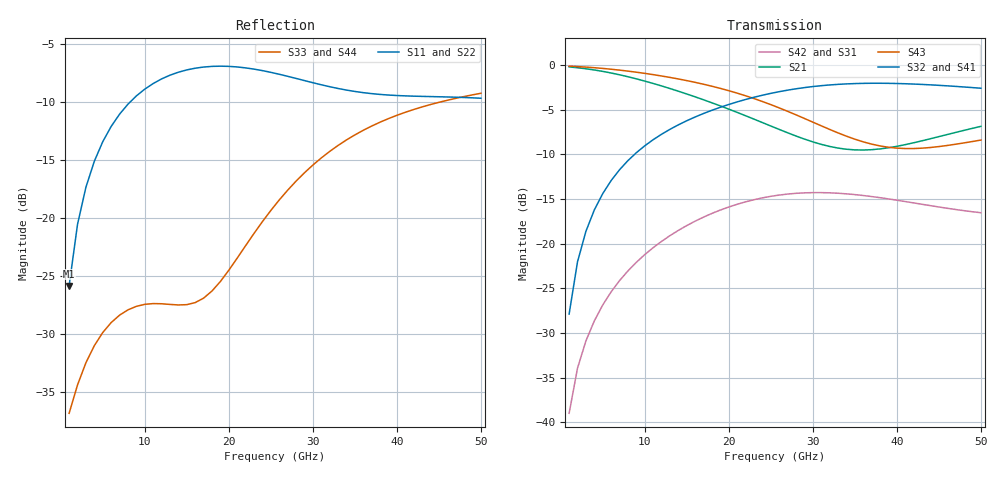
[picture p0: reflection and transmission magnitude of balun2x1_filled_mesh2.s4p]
! Created with skrf 2.1.0 (http://scikit-rf.org).
# GHz S DB R 50.0
! Port[1] = P1
! Port[2] = P2
! Port[3] = P3
! Port[4] = P4
!freq dBS11 angS11 dBS12 angS12 dBS13 angS13
! dBS14 angS14
! dBS21 angS21 dBS22 angS22 dBS23 angS23
! dBS24 angS24
! dBS31 angS31 dBS32 angS32 dBS33 angS33
! dBS34 angS34
! dBS41 angS41 dBS42 angS42 dBS43 angS43
! dBS44 angS44
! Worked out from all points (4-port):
!   50 points, 1 GHz to 50 GHz, reference 50 ohm
!   strongest paths, dB at 1 GHz, 13 GHz, 26 GHz, 38 GHz, 50 GHz:
!     S32: -27.9, -7.2, -3.0, -2.0, -2.6
!     S41: -27.9, -7.2, -3.0, -2.1, -2.6
!     S43: -0.1, -1.4, -4.8, -9.1, -8.4
!     S21: -0.2, -2.6, -7.2, -9.4, -6.9
!     S42: -39.0, -19.1, -14.6, -14.8, -16.5
!     S31: -39.0, -19.2, -14.7, -15.1, -16.7
!   lowest |S11| = -25.8 dB at 1 GHz (marker M1), VSWR 1.11, Z = 52.2 + j4.73 ohm
!   |S11| at or under -10 dB: start of sweep to 8.217 GHz
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1  -25.84 62.3  -0.21 -5.3  -38.99 -109.1  -27.87 84.6
   -0.21 -5.3  -25.84 62.3  -27.87 84.6  -38.98 -109.1
   -38.99 -109.1  -27.87 84.6  -36.84 24.3  -0.12 -2.6
   -27.87 84.6  -38.98 -109.1  -0.12 -2.6  -36.84 24.3
4  -15.08 60.7  -0.55 -19.9  -28.65 -135.5  -16.21 73.4
   -0.55 -19.9  -15.08 60.5  -16.22 73.4  -28.64 -135.8
   -28.65 -135.5  -16.22 73.4  -31.00 30.3  -0.30 -9.9
   -16.21 73.4  -28.64 -135.8  -0.30 -9.9  -31.00 30.1
9  -9.44 39.6  -1.54 -42.7  -22.12 -177.0  -9.81 56.0
   -1.54 -42.7  -9.45 39.2  -9.81 56.0  -22.08 -177.6
   -22.12 -177.0  -9.81 56.0  -27.61 2.5  -0.80 -21.1
   -9.81 56.0  -22.08 -177.6  -0.80 -21.1  -27.59 2.0
17  -6.95 9.0  -3.89 -78.0  -17.12 124.6  -5.43 31.7
    -3.89 -78.0  -6.98 8.1  -5.42 31.7  -17.02 123.6
    -17.12 124.6  -5.42 31.7  -26.90 -85.7  -2.15 -37.2
    -5.43 31.7  -17.02 123.6  -2.15 -37.2  -26.71 -86.9
28  -7.93 -18.7  -7.94 -138.2  -14.54 59.9  -2.68 0.1
    -7.94 -138.2  -8.09 -20.3  -2.66 -0.0  -14.36 58.2
    -14.54 59.9  -2.66 -0.0  -16.80 167.9  -5.57 -52.7
    -2.68 0.1  -14.36 58.2  -5.57 -52.7  -16.59 167.8
37  -9.24 -26.3  -9.47 155.6  -14.95 21.0  -2.07 -24.6
    -9.47 155.6  -9.57 -27.6  -2.04 -24.9  -14.72 18.4
    -14.95 21.0  -2.04 -24.9  -12.04 125.5  -8.85 -46.4
    -2.07 -24.6  -14.72 18.4  -8.85 -46.4  -11.86 125.3
50  -9.64 -37.7  -6.86 87.4  -16.71 -9.1  -2.64 -53.7
    -6.86 87.4  -10.00 -38.1  -2.59 -54.3  -16.53 -13.4
    -16.71 -9.1  -2.59 -54.3  -9.21 88.3  -8.40 -28.6
    -2.64 -53.7  -16.53 -13.4  -8.40 -28.6  -9.04 87.7
